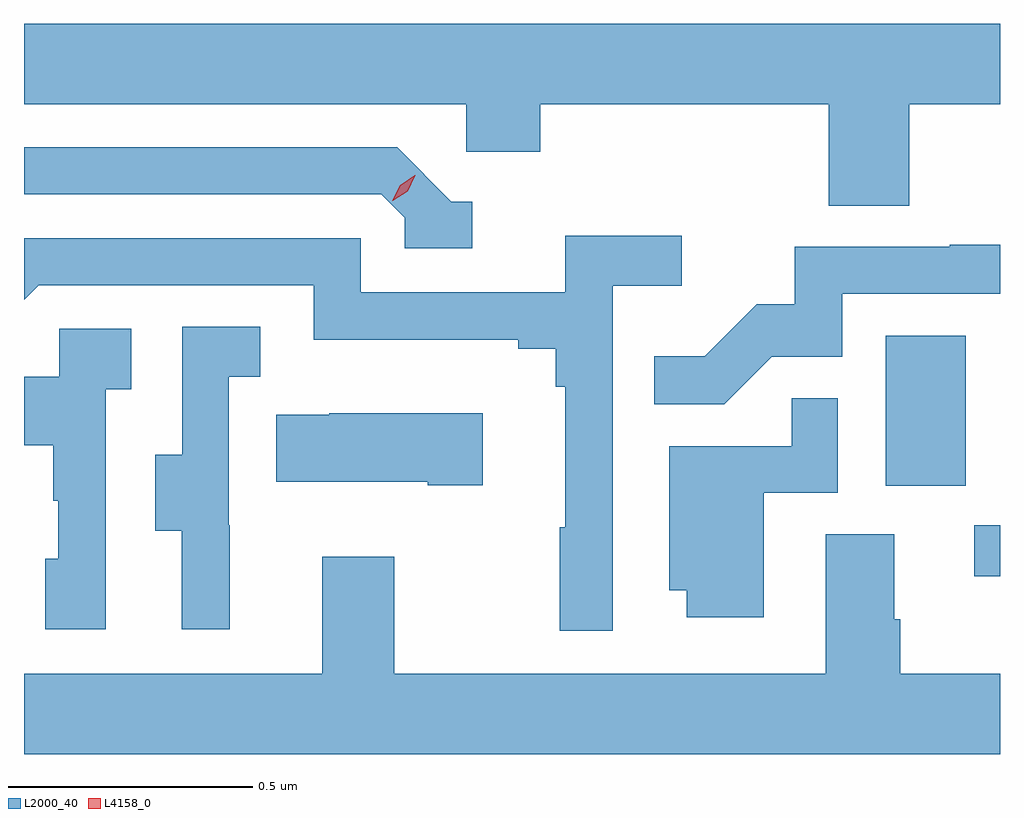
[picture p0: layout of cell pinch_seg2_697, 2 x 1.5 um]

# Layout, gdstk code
import gdstk
lib = gdstk.Library(unit=1e-6, precision=1e-09)
def R(c, l, rs):  # rectangles x0, y0, x1, y1
    for r in rs: c.add(gdstk.rectangle(r[:2], r[2:], *l))
def P(c, l, *ps):  # polygons
    for p in ps: c.add(gdstk.Polygon(p, *l))
L2000_40 = (2000, 40)
L4158_0 = (4158, 0)

pinch_seg2_697 = lib.new_cell('pinch_seg2_697')
R(pinch_seg2_697, L2000_40, [(1095.945,588.06,1095.998,588.165), (1095.764,588.246,1095.928,588.553)])
P(pinch_seg2_697, L2000_40, [(1095.812,589.028),(1095.998,589.028),(1095.998,589.192),(1093.998,589.192),(1093.998,589.028),(1094.904,589.028),(1094.904,588.93),(1095.056,588.93),(1095.056,589.028),(1095.647,589.028),(1095.647,588.82),(1095.812,588.82)],
  [(1094.917,588.828),(1094.874,588.828),(1094.763,588.939),(1093.998,588.939),(1093.998,588.843),(1094.73,588.843),(1094.778,588.795),(1094.778,588.732),(1094.917,588.732)],
  [(1095.204,588.656),(1095.346,588.656),(1095.346,588.758),(1095.107,588.758),(1095.107,588.642),(1094.688,588.642),(1094.688,588.753),(1093.998,588.753),(1093.998,588.627),(1094.028,588.657),(1094.592,588.657),(1094.592,588.545),(1095.011,588.545),(1095.011,588.526),(1095.088,588.526),(1095.088,588.449),(1095.107,588.449),(1095.107,588.161),(1095.096,588.161),(1095.096,587.949),(1095.204,587.949)],
  [(1095.53,588.51),(1095.675,588.51),(1095.675,588.639),(1095.998,588.639),(1095.998,588.74),(1095.895,588.74),(1095.895,588.735),(1095.577,588.735),(1095.577,588.618),(1095.5,588.618),(1095.393,588.511),(1095.289,588.511),(1095.289,588.413),(1095.433,588.413)],
  [(1094.42,588.165),(1094.418,588.165),(1094.418,588.469),(1094.482,588.469),(1094.482,588.572),(1094.322,588.572),(1094.322,588.309),(1094.267,588.309),(1094.267,588.154),(1094.321,588.154),(1094.321,587.952),(1094.42,587.952)],
  [(1094.166,588.443),(1094.218,588.443),(1094.218,588.567),(1094.07,588.567),(1094.07,588.469),(1093.998,588.469),(1093.998,588.329),(1094.058,588.329),(1094.058,588.215),(1094.068,588.215),(1094.068,588.096),(1094.042,588.096),(1094.042,587.952),(1094.166,587.952)],
  [(1095.514,588.231),(1095.666,588.231),(1095.666,588.425),(1095.571,588.425),(1095.571,588.327),(1095.32,588.327),(1095.32,588.032),(1095.356,588.032),(1095.356,587.976),(1095.514,587.976)],
  [(1094.938,588.394),(1094.623,588.394),(1094.623,588.391),(1094.515,588.391),(1094.515,588.254),(1094.825,588.254),(1094.825,588.247),(1094.938,588.247)],
  [(1095.998,587.86),(1095.794,587.86),(1095.794,587.972),(1095.781,587.972),(1095.781,588.146),(1095.641,588.146),(1095.641,587.86),(1094.757,587.86),(1094.757,588.1),(1094.609,588.1),(1094.609,587.86),(1093.998,587.86),(1093.998,587.696),(1095.998,587.696)])
P(pinch_seg2_697, L4158_0, [(1094.753,588.83),(1094.753,588.83),(1094.769,588.862),(1094.799,588.882),(1094.8,588.882),(1094.8,588.882),(1094.784,588.849),(1094.754,588.83)])

lib.write_gds('pinch_seg2_697.gds')
